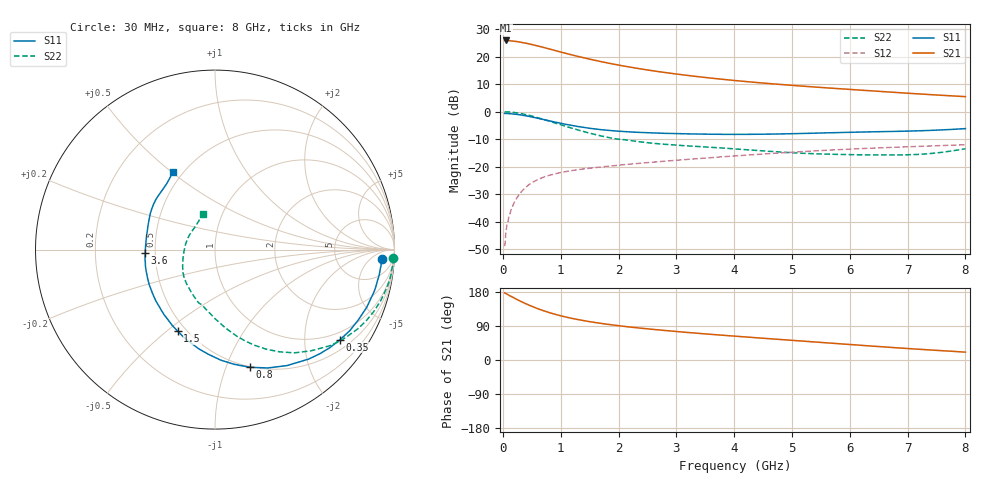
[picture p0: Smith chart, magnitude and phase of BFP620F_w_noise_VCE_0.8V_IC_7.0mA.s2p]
! Infineon Technologies  Discrete & RF Semiconductors
! BFP620F
! VCE =  0.8 V,  IC =  7.0 mA
! Common Emitter S-Parameters:  Dec 2014
# GHz  S  MA  R  50
!  f  S11  S21  S12  S22
! GHz  MAG  ANG  MAG  ANG  MAG  ANG  MAG  ANG
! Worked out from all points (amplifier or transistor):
!   95 points, 30 MHz to 8 GHz, reference 50 ohm
!   highest |S21| = 25.9 dB at 60 MHz (marker M1)
!   |S21| within 3 dB of that: start of sweep to 787.1 MHz
!   unconditionally stable (mu >= 1): 4.585 GHz to end of sweep
!   at 300 MHz: K = 0.12, MSG = 27.4 dB, |S12| = -29.6 dB
!   at 3.3 GHz: K = 0.91, MSG = 15.0 dB, |S12| = -17.2 dB
!   at 8 GHz: K = 1.11, MAG = 6.8 dB, |S12| = -12.0 dB
!   lowest NFmin = 0.55 dB at 450 MHz
!   S11 on the Smith chart (normalised r, x): 30 MHz: 18, -13; 350 MHz: 0.77, -2.92; 800 MHz: 0.49, -1.21; 1.5 GHz: 0.45, -0.55; 3.6 GHz: 0.44, -0.02; 8 GHz: 0.44, +0.50
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0.03  0.9292 -3.1  19.64 177.2  0.0036 85.7  0.9948 -2.6
0.06  0.9277 -6.4  19.7 174.9  0.0074 87.5  0.9949 -5.1
0.15  0.9143 -15.8  19.36 167.3  0.0173 80.4  0.9795 -12.9
0.25  0.8899 -26.0  18.76 159.2  0.028 76.4  0.9502 -21.2
0.35  0.8589 -35.7  17.91 151.8  0.0381 71.5  0.9092 -29.1
0.45  0.8229 -44.9  17.07 144.9  0.047 66.9  0.8612 -36.5
0.6  0.7604 -58.2  15.69 135.6  0.0582 61.0  0.7774 -46.5
0.7  0.7219 -66.0  14.74 130.2  0.0645 57.5  0.7251 -52.5
0.8  0.6832 -73.6  13.83 125.2  0.0698 54.6  0.673 -57.8
0.9  0.6474 -80.6  12.96 120.7  0.0742 52.4  0.6238 -62.8
1.1  0.5862 -93.2  11.39 113.0  0.082 48.7  0.5364 -71.7
1.4  0.5185 -109.7  9.539 103.9  0.0913 45.2  0.4353 -83.0
1.5  0.4993 -114.6  9.017 101.2  0.0937 44.5  0.4073 -86.5
1.8  0.4608 -127.9  7.724 94.4  0.1015 42.8  0.3448 -96.9
2  0.442 -135.6  7.036 90.6  0.1065 42.0  0.3158 -103.6
2.4  0.4191 -148.8  5.953 83.7  0.1162 40.3  0.2811 -115.7
2.7  0.4078 -157.2  5.335 79.4  0.1236 39.6  0.2608 -123.2
3.6  0.3893 -177.3  4.078 67.7  0.146 37.1  0.2252 -141.2
4.1  0.3872 173.4  3.613 61.9  0.1594 35.4  0.2076 -149.9
5.4  0.4074 153.4  2.806 47.5  0.1941 29.4  0.1722 -178.3
6.7  0.4367 135.6  2.271 33.4  0.224 21.8  0.1638 148.4
8  0.4926 118.7  1.877 20.7  0.2507 14.1  0.212 108.8
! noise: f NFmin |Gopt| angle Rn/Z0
0.45  0.55  0.38  9  0.25
0.9  0.61  0.35  19  0.22
1.5  0.68  0.32  24  0.19
1.8  0.71  0.3  27  0.18
1.9  0.72  0.25  40  0.19
2.4  0.77  0.22  56  0.17
3.5  0.88  0.21  75  0.14
5.5  1.08  0.14  162  0.12
6  1.12  0.11  185  0.21
